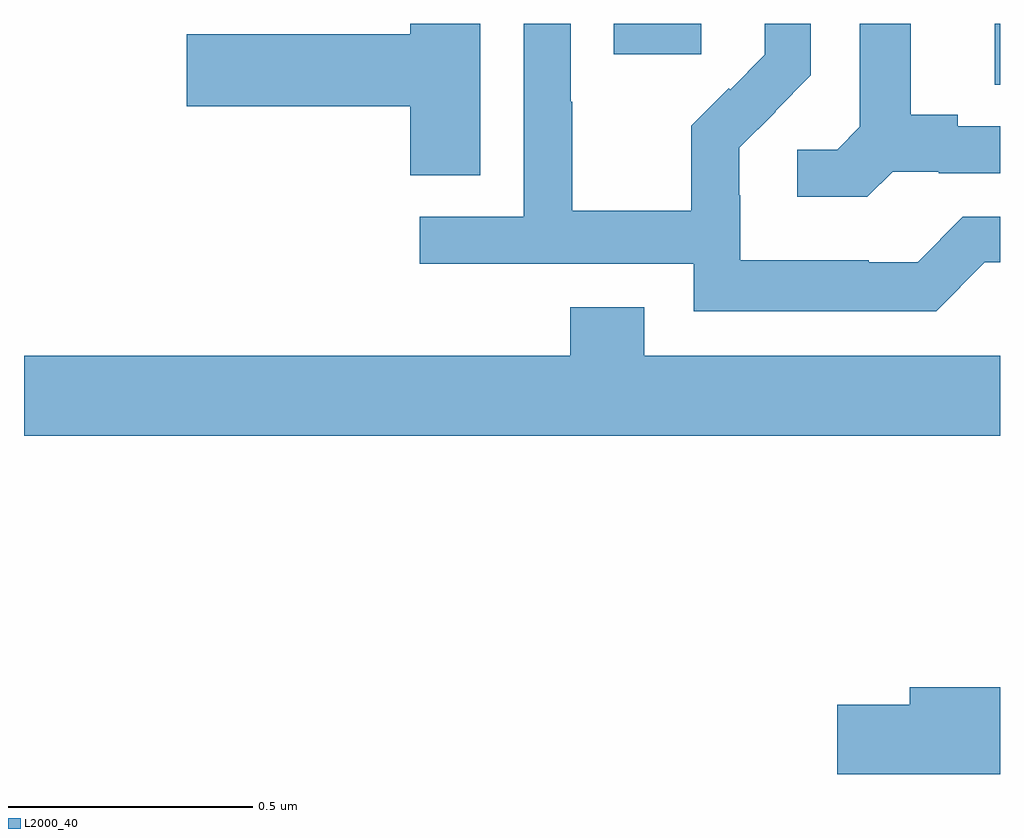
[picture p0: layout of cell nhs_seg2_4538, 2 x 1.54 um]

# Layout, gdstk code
import gdstk
lib = gdstk.Library(unit=1e-6, precision=1e-09)
def R(c, l, rs):  # rectangles x0, y0, x1, y1
    for r in rs: c.add(gdstk.rectangle(r[:2], r[2:], *l))
def P(c, l, *ps):  # polygons
    for p in ps: c.add(gdstk.Polygon(p, *l))
L2000_40 = (2000, 40)

nhs_seg2_4538 = lib.new_cell('nhs_seg2_4538')
R(nhs_seg2_4538, L2000_40, [(168.989,661.675,169,661.8), (168.209,661.737,168.388,661.8)])
P(nhs_seg2_4538, L2000_40, [(168.969,661.311),(169,661.311),(169,661.404),(168.924,661.404),(168.831,661.311),(168.731,661.311),(168.731,661.315),(168.468,661.315),(168.468,661.449),(168.466,661.449),(168.466,661.546),(168.54,661.62),(168.539,661.621),(168.612,661.694),(168.612,661.8),(168.518,661.8),(168.518,661.736),(168.447,661.665),(168.444,661.668),(168.367,661.591),(168.367,661.417),(168.123,661.417),(168.123,661.64),(168.12,661.64),(168.12,661.8),(168.024,661.8),(168.024,661.404),(167.811,661.404),(167.811,661.308),(168.372,661.308),(168.372,661.211),(168.869,661.211)],
  [(167.935,661.8),(167.792,661.8),(167.792,661.778),(167.334,661.778),(167.334,661.631),(167.792,661.631),(167.792,661.489),(167.935,661.489)],
  [(168.78,661.497),(168.874,661.497),(168.874,661.494),(169,661.494),(169,661.59),(168.913,661.59),(168.913,661.613),(168.817,661.613),(168.817,661.8),(168.713,661.8),(168.713,661.589),(168.666,661.542),(168.585,661.542),(168.585,661.445),(168.728,661.445)],
  [(169,661.12),(168.271,661.12),(168.271,661.219),(168.119,661.219),(168.119,661.12),(167,661.12),(167,660.956),(169,660.956)],
  [(169,660.44),(168.815,660.44),(168.815,660.404),(168.666,660.404),(168.666,660.262),(169,660.262)])

lib.write_gds('nhs_seg2_4538.gds')
